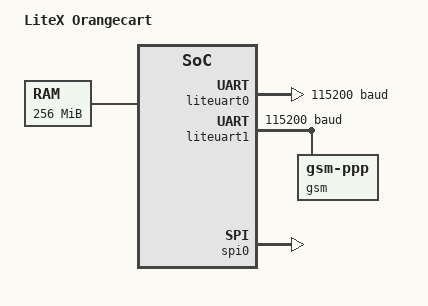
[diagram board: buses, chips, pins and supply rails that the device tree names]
/*
 * Copyright (c) 2022 pottendo
 *
 * SPDX-License-Identifier: Apache-2.0
 */

/dts-v1/;

#include <pottendo/orangecart-VexRV32SMP-ima.dtsi>

/ {
	model = "LiteX Orangecart";
	compatible = "litex,vexriscv";
	chosen {
		zephyr,console = &liteuart0;
		zephyr,shell-uart = &liteuart0;
		zephyr,sram = &ram0;
		zephyr,uart-pipe = &liteuart1;
		/* zephyr,gdbstub-uart = &uart0; */
	};

	ram0: memory@40000000 {
		device_type = "memory";
		reg = <0x40000000 0x10000000>;
	};
};

&liteuart0 {
	status = "okay";
	current-speed = <115200>;
};

&liteuart1 {
	status = "okay";
	current-speed = <115200>;
	gsm: gsm-modem {
		compatible = "zephyr,gsm-ppp";
		status="okay";
	};			
};

&mailbox {
	status = "okay";
};

&spi0 {
	status = "okay";
};

&leds {
	litex,ngpio = <4>;
	status = "okay";
};

/*
&timer0 {
	status = "okay";
};
*/
 
/*
&dna0 {
	status = "okay";
};

&prbs0 {
	status = "okay";
};

&i2c0 {
	status = "okay";
};

&pwm0 {
	status = "okay";
};

&i2s_rx {
	status = "okay";
};

&i2s_tx {
	status = "okay";
};
*/
/*
&gpio_out {
	status = "okay";
};

&gpio_in {
	status = "okay";
};

&clk0 {
	status = "okay";
};

&clk1 {
	status = "okay";
};

&clock0 {
	status = "okay";
};
*/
